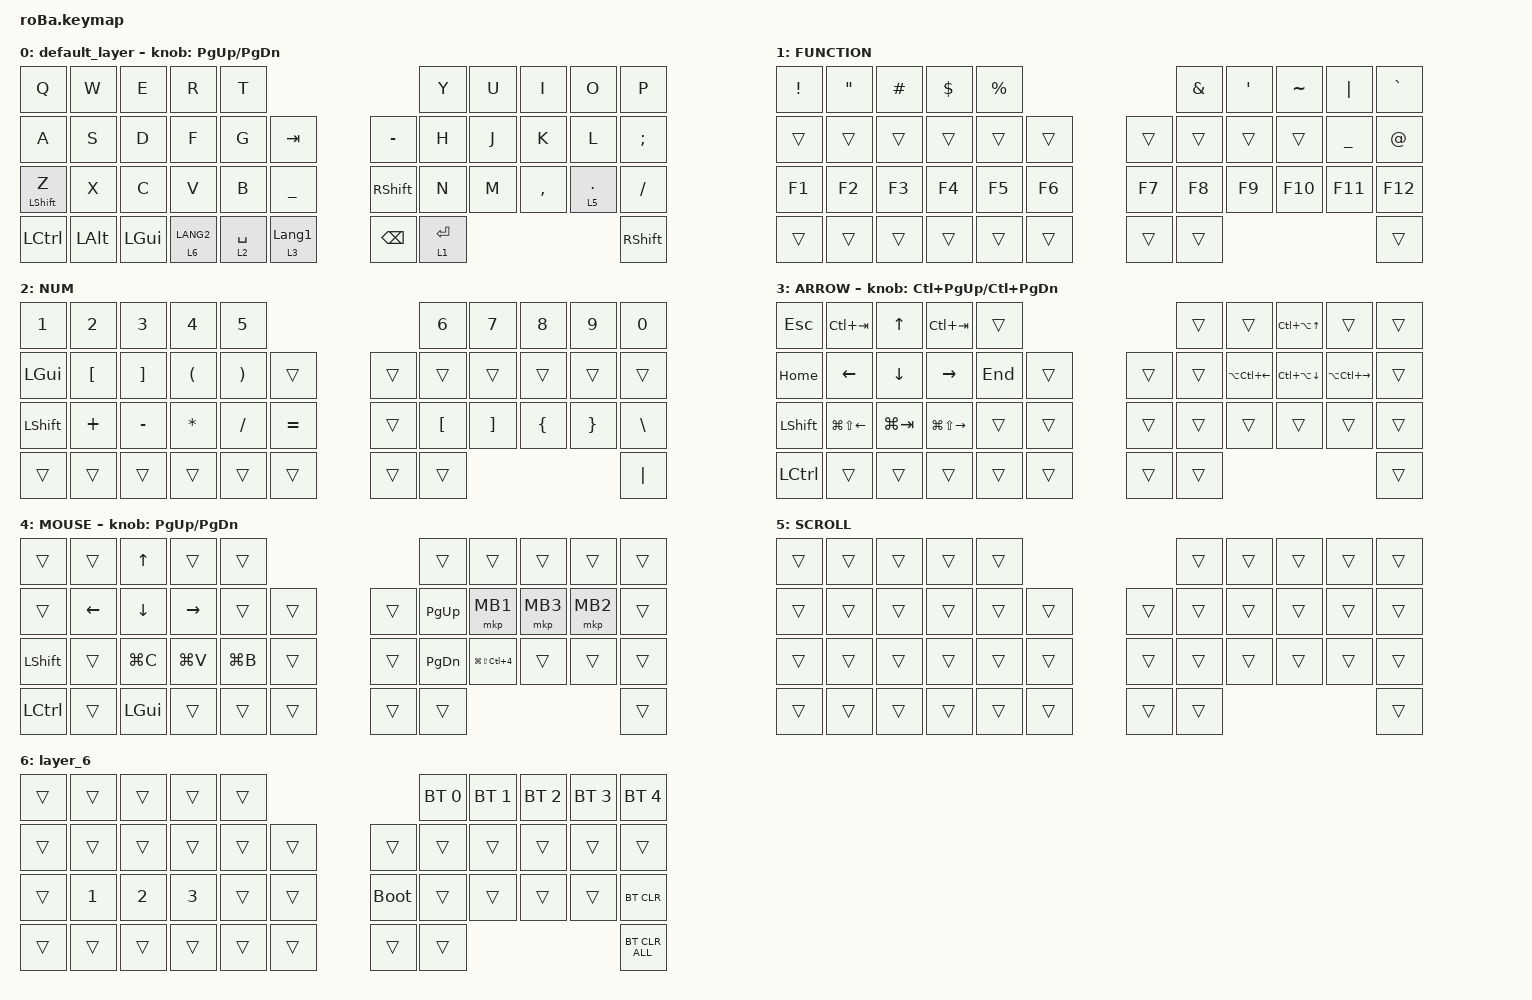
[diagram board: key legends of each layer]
#include <behaviors.dtsi>
#include <dt-bindings/zmk/bt.h>
#include <dt-bindings/zmk/keys.h>
#include <dt-bindings/zmk/pointing.h>

&mt {
    flavor = "balanced";
    quick-tap-ms = <0>;
};

&trackball {
    automouse-layer = <4>;
    scroll-layers = <5>;

    // arrows {
    //     layers = <3>;
    //     bindings =
    //         <&kp RIGHT_ARROW>,
    //         <&kp LEFT_ARROW>,
    //         <&kp UP_ARROW>,
    //         <&kp DOWN_ARROW>;
    //     tick = <10>;
    //     wait-ms = <5>;
    //     tap-ms = <5>;
    // };
};

/ {
    combos {
        compatible = "zmk,combos";

        tab {
            bindings = <&kp TAB>;
            key-positions = <11 12>;
        };

        shift_tab {
            bindings = <&kp LS(TAB)>;
            key-positions = <12 13>;
        };

        muhennkann {
            bindings = <&to_layer_0 INT_MUHENKAN>;
            key-positions = <11 10>;
        };

        double_quotation {
            bindings = <&kp DOUBLE_QUOTES>;
            key-positions = <20 21>;
        };

        eq {
            bindings = <&kp EQUAL>;
            key-positions = <24 25>;
        };

        del {
            bindings = <&kp DEL>;
            key-positions = <40 41>;
        };
    };

    macros {
        to_layer_0: to_layer_0 {
            compatible = "zmk,behavior-macro-one-param";
            #binding-cells = <1>;
            bindings = <&to 0 &macro_param_1to1 &kp MACRO_PLACEHOLDER>;
            label = "TO_LAYER_0";
        };
    };

    behaviors {
        lt_to_layer_0: lt_to_layer_0 {
            compatible = "zmk,behavior-hold-tap";
            label = "LAYER_TAP_TO_0";
            bindings = <&mo>, <&to_layer_0>;

            #binding-cells = <2>;
            tapping-term-ms = <200>;
        };
    };

    keymap {
        compatible = "zmk,keymap";

        default_layer {
            bindings = <
&kp Q             &kp W         &kp E         &kp R                   &kp T                                                          &kp Y        &kp U  &kp I      &kp O      &kp P
&kp A             &kp S         &kp D         &kp F                   &kp G        &kp TAB                          &kp MINUS        &kp H        &kp J  &kp K      &kp L      &kp SEMICOLON
&mt LEFT_SHIFT Z  &kp X         &kp C         &kp V                   &kp B        &kp UNDERSCORE                   &kp RIGHT_SHIFT  &kp N        &kp M  &kp COMMA  &lt 5 DOT  &kp SLASH
&kp LCTRL         &kp LEFT_ALT  &kp LEFT_GUI  &lt_to_layer_0 6 LANG2  &lt 2 SPACE  &lt_to_layer_0 3 LANGUAGE_1      &kp BACKSPACE    &lt 1 ENTER                               &kp RIGHT_SHIFT
            >;

            sensor-bindings = <&inc_dec_kp PAGE_UP PAGE_DOWN>;
        };

        FUNCTION {
            bindings = <
&kp EXCLAMATION  &kp DOUBLE_QUOTES  &kp HASH  &kp DOLLAR  &kp PERCENT                      &kp AMPERSAND  &kp SINGLE_QUOTE  &kp TILDE  &kp PIPE        &kp GRAVE
&trans           &trans             &trans    &trans      &trans       &trans      &trans  &trans         &trans            &trans     &kp UNDERSCORE  &kp AT_SIGN
&kp F1           &kp F2             &kp F3    &kp F4      &kp F5       &kp F6      &kp F7  &kp F8         &kp F9            &kp F10    &kp F11         &kp F12
&trans           &trans             &trans    &trans      &trans       &trans      &trans  &trans                                                      &trans
            >;
        };

        NUM {
            bindings = <
&kp NUMBER_1    &kp NUMBER_2      &kp NUMBER_3       &kp NUMBER_4          &kp NUMBER_5                                  &kp NUMBER_6      &kp N7             &kp N8          &kp N9           &kp N0
&kp LEFT_GUI    &kp LEFT_BRACKET  &kp RIGHT_BRACKET  &kp LEFT_PARENTHESIS  &kp RIGHT_PARENTHESIS  &trans         &trans  &trans            &trans             &trans          &trans           &trans
&kp LEFT_SHIFT  &kp PLUS          &kp MINUS          &kp ASTERISK          &kp SLASH              &kp EQUAL      &trans  &kp LEFT_BRACKET  &kp RIGHT_BRACKET  &kp LEFT_BRACE  &kp RIGHT_BRACE  &kp BACKSLASH
&trans          &trans            &trans             &trans                &trans                 &trans         &trans  &trans                                                                &kp PIPE
            >;
        };

        ARROW {
            bindings = <
&kp ESCAPE      &kp LC(TAB)             &kp UP_ARROW    &kp LC(TAB)              &trans                       &trans  &trans            &kp LC(LA(UP))    &trans             &trans
&kp HOME        &kp LEFT_ARROW          &kp DOWN_ARROW  &kp RIGHT_ARROW          &kp END  &trans      &trans  &trans  &kp LA(LC(LEFT))  &kp LC(LA(DOWN))  &kp LA(LC(RIGHT))  &trans
&kp LEFT_SHIFT  &kp LG(LS(LEFT_ARROW))  &kp LG(TAB)     &kp LG(LS(RIGHT_ARROW))  &trans   &trans      &trans  &trans  &trans            &trans            &trans             &trans
&kp LCTRL       &trans                  &trans          &trans                   &trans   &trans      &trans  &trans                                                         &trans
            >;

            sensor-bindings = <&inc_dec_kp LC(PAGE_UP) LC(PAGE_DOWN)>;
        };

        MOUSE {
            bindings = <
&trans          &trans    &kp UP_ARROW    &trans     &trans                         &trans         &trans                    &trans    &trans    &trans
&trans          &kp LEFT  &kp DOWN_ARROW  &kp RIGHT  &trans     &trans      &trans  &kp PG_UP      &mkp MB1                  &mkp MB3  &mkp MB2  &trans
&kp LEFT_SHIFT  &trans    &kp LG(C)       &kp LG(V)  &kp LG(B)  &trans      &trans  &kp PAGE_DOWN  &kp LG(LS(LC(NUMBER_4)))  &trans    &trans    &trans
&kp LCTRL       &trans    &kp LEFT_GUI    &trans     &trans     &trans      &trans  &trans                                                       &trans
            >;

            sensor-bindings = <&inc_dec_kp PAGE_UP PAGE_DOWN>;
        };

        SCROLL {
            bindings = <
&trans  &trans  &trans  &trans  &trans                      &trans  &trans  &trans  &trans  &trans
&trans  &trans  &trans  &trans  &trans  &trans      &trans  &trans  &trans  &trans  &trans  &trans
&trans  &trans  &trans  &trans  &trans  &trans      &trans  &trans  &trans  &trans  &trans  &trans
&trans  &trans  &trans  &trans  &trans  &trans      &trans  &trans                          &trans
            >;
        };

        layer_6 {
            bindings = <
&trans  &trans        &trans        &trans        &trans                           &bt BT_SEL 0  &bt BT_SEL 1  &bt BT_SEL 2  &bt BT_SEL 3  &bt BT_SEL 4
&trans  &trans        &trans        &trans        &trans  &trans      &trans       &trans        &trans        &trans        &trans        &trans
&trans  &kp NUMBER_1  &kp NUMBER_2  &kp NUMBER_3  &trans  &trans      &bootloader  &trans        &trans        &trans        &trans        &bt BT_CLR
&trans  &trans        &trans        &trans        &trans  &trans      &trans       &trans                                                  &bt BT_CLR_ALL
            >;
        };
    };
};
